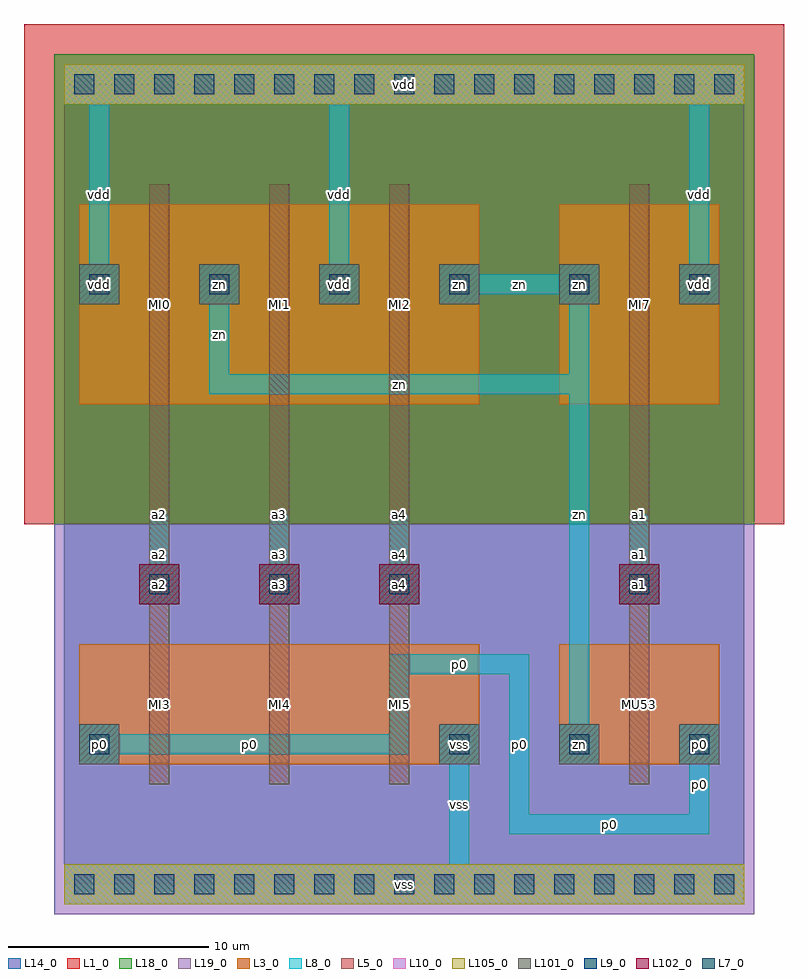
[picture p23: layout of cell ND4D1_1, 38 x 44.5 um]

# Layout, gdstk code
import gdstk
lib = gdstk.Library(unit=1e-6, precision=2.5e-07)
def R(c, l, rs):  # rectangles x0, y0, x1, y1
    for r in rs: c.add(gdstk.rectangle(r[:2], r[2:], *l))
def A(c, l, x, y, w, h, nx, ny, dx, dy):  # array of equal rectangles
    R(c, l, [(x+i*dx, y+j*dy, x+i*dx+w, y+j*dy+h) for i in range(nx) for j in range(ny)])
L1_0 = (1, 0)
L3_0 = (3, 0)
L5_0 = (5, 0)
L7_0 = (7, 0)
L8_0 = (8, 0)
L9_0 = (9, 0)
L10_0 = (10, 0)
L13_0 = (13, 0)
L14_0 = (14, 0)
L18_0 = (18, 0)
L19_0 = (19, 0)
L101_0 = (101, 0)
L102_0 = (102, 0)
L105_0 = (105, 0)

nd4d1_1 = lib.new_cell('ND4D1_1')
R(nd4d1_1, L1_0, [(-2,18,36,43)])
A(nd4d1_1, L3_0, 0.75, 6, 8, 6, 3, 1, 6, 0)
A(nd4d1_1, L3_0, 18.75, 6, 2, 2, 3, 1, 6, 0)
A(nd4d1_1, L3_0, 0.75, 24, 8, 10, 3, 1, 6, 0)
A(nd4d1_1, L3_0, 0.75, 29, 2, 2, 6, 1, 6, 0)
R(nd4d1_1, L3_0, [(0.75,6,2.75,8), (24.75,6,32.75,12), (24.75,24,32.75,34)])
A(nd4d1_1, L5_0, 4.25, 5, 1, 8, 3, 1, 6, 0)
A(nd4d1_1, L5_0, 4.25, 6.5, 1, 24, 3, 1, 6, 0)
A(nd4d1_1, L5_0, 3.75, 14, 2, 2, 3, 1, 6, 0)
A(nd4d1_1, L5_0, 4.25, 23, 1, 12, 3, 1, 6, 0)
R(nd4d1_1, L5_0, [(28.25,5,29.25,13), (28.25,6.5,29.25,30.5), (27.75,14,29.75,16), (28.25,23,29.25,35)])
A(nd4d1_1, L7_0, 19.25, 6.5, 1, 1, 3, 1, 6, 0)
A(nd4d1_1, L7_0, 4.25, 14.5, 1, 1, 3, 1, 6, 0)
A(nd4d1_1, L7_0, 1.25, 29.5, 1, 1, 6, 1, 6, 0)
R(nd4d1_1, L7_0, [(1.25,6.5,2.25,7.5), (28.25,14.5,29.25,15.5)])
A(nd4d1_1, L8_0, 18.75, 6, 2, 2, 3, 1, 6, 0)
A(nd4d1_1, L8_0, 3.75, 14, 2, 2, 3, 1, 6, 0)
A(nd4d1_1, L8_0, 4.25, 14.5, 1, 4, 3, 1, 6, 0)
A(nd4d1_1, L8_0, 0.75, 29, 2, 2, 6, 1, 6, 0)
R(nd4d1_1, L8_0, [(0,-1,34,1), (19.25,0.5,20.25,7.5), (22.25,2.5,23.25,11.5), (22.25,2.5,32.25,3.5), (31.25,2.5,32.25,7.5), (0.75,6,2.75,8), (1.25,6.5,17.25,7.5), (16.25,6.5,17.25,11.5), (25.25,6.5,26.25,30.5), (16.25,10.5,23.25,11.5), (27.75,14,29.75,16), (28.25,14.5,29.25,18.5), (7.25,24.5,26.25,25.5), (7.25,24.5,8.25,30.5), (1.25,29.5,2.25,39.5), (13.25,29.5,14.25,39.5), (19.25,29.5,26.25,30.5), (31.25,29.5,32.25,39.5), (0,39,34,41)])
A(nd4d1_1, L9_0, 0.5, -0.5, 1, 1, 17, 2, 2, 40)
R(nd4d1_1, L10_0, [(0,-1,34,1), (0,39,34,41)])
R(nd4d1_1, L14_0, [(0,0,34,40)])
R(nd4d1_1, L18_0, [(-0.5,18,34.5,38.5), (-0.5,38.5,34.5,41.5)])
R(nd4d1_1, L19_0, [(-0.5,-1.5,34.5,1.5), (-0.5,1.5,34.5,18)])
A(nd4d1_1, L101_0, 18.75, 6, 2, 2, 3, 1, 6, 0)
A(nd4d1_1, L101_0, 0.75, 29, 2, 2, 6, 1, 6, 0)
R(nd4d1_1, L101_0, [(0.75,6,2.75,8)])
A(nd4d1_1, L102_0, 3.75, 14, 2, 2, 3, 1, 6, 0)
R(nd4d1_1, L102_0, [(27.75,14,29.75,16)])
A(nd4d1_1, L105_0, 0, -1, 2, 2, 17, 2, 2, 40)
nd4d1_1.add(gdstk.FlexPath([(0.75,3),(32.75,3)], 0, ends="flush", simple_path=True, layer=13, datatype=0))  # L13_0
nd4d1_1.add(gdstk.FlexPath([(0.75,7),(32.75,7)], 0, ends="flush", simple_path=True, layer=13, datatype=0))  # L13_0
nd4d1_1.add(gdstk.FlexPath([(0.75,11),(32.75,11)], 0, ends="flush", simple_path=True, layer=13, datatype=0))  # L13_0
nd4d1_1.add(gdstk.FlexPath([(0.75,15),(32.75,15)], 0, ends="flush", simple_path=True, layer=13, datatype=0))  # L13_0
nd4d1_1.add(gdstk.FlexPath([(0.75,18),(32.75,18)], 0, ends="flush", simple_path=True, layer=13, datatype=0))  # L13_0
nd4d1_1.add(gdstk.FlexPath([(0.75,21),(32.75,21)], 0, ends="flush", simple_path=True, layer=13, datatype=0))  # L13_0
nd4d1_1.add(gdstk.FlexPath([(0.75,25),(32.75,25)], 0, ends="flush", simple_path=True, layer=13, datatype=0))  # L13_0
nd4d1_1.add(gdstk.FlexPath([(0.75,30),(32.75,30)], 0, ends="flush", simple_path=True, layer=13, datatype=0))  # L13_0
nd4d1_1.add(gdstk.FlexPath([(0.75,33),(32.75,33)], 0, ends="flush", simple_path=True, layer=13, datatype=0))  # L13_0
nd4d1_1.add(gdstk.FlexPath([(0.75,37),(32.75,37)], 0, ends="flush", simple_path=True, layer=13, datatype=0))  # L13_0
nd4d1_1.add(gdstk.FlexPath([(1.75,0.5),(1.75,39.5)], 0, ends="flush", simple_path=True, layer=13, datatype=0))  # L13_0
nd4d1_1.add(gdstk.FlexPath([(4.75,0.5),(4.75,39.5)], 0, ends="flush", simple_path=True, layer=13, datatype=0))  # L13_0
nd4d1_1.add(gdstk.FlexPath([(7.75,0.5),(7.75,39.5)], 0, ends="flush", simple_path=True, layer=13, datatype=0))  # L13_0
nd4d1_1.add(gdstk.FlexPath([(10.75,0.5),(10.75,39.5)], 0, ends="flush", simple_path=True, layer=13, datatype=0))  # L13_0
nd4d1_1.add(gdstk.FlexPath([(13.75,0.5),(13.75,39.5)], 0, ends="flush", simple_path=True, layer=13, datatype=0))  # L13_0
nd4d1_1.add(gdstk.FlexPath([(16.75,0.5),(16.75,39.5)], 0, ends="flush", simple_path=True, layer=13, datatype=0))  # L13_0
nd4d1_1.add(gdstk.FlexPath([(19.75,0.5),(19.75,39.5)], 0, ends="flush", simple_path=True, layer=13, datatype=0))  # L13_0
nd4d1_1.add(gdstk.FlexPath([(22.75,0.5),(22.75,39.5)], 0, ends="flush", simple_path=True, layer=13, datatype=0))  # L13_0
nd4d1_1.add(gdstk.FlexPath([(25.75,0.5),(25.75,39.5)], 0, ends="flush", simple_path=True, layer=13, datatype=0))  # L13_0
nd4d1_1.add(gdstk.FlexPath([(28.75,0.5),(28.75,39.5)], 0, ends="flush", simple_path=True, layer=13, datatype=0))  # L13_0
nd4d1_1.add(gdstk.FlexPath([(31.75,0.5),(31.75,39.5)], 0, ends="flush", simple_path=True, layer=13, datatype=0))  # L13_0
nd4d1_1.add(gdstk.Label('MI3', (4.75,9), layer=3, texttype=0))
nd4d1_1.add(gdstk.Label('MI5', (16.75,9), layer=3, texttype=0))
nd4d1_1.add(gdstk.Label('MI4', (10.75,9), layer=3, texttype=0))
nd4d1_1.add(gdstk.Label('MU53', (28.75,9), layer=3, texttype=0))
nd4d1_1.add(gdstk.Label('MI7', (28.75,29), layer=3, texttype=0))
nd4d1_1.add(gdstk.Label('MI2', (16.75,29), layer=3, texttype=0))
nd4d1_1.add(gdstk.Label('MI1', (10.75,29), layer=3, texttype=0))
nd4d1_1.add(gdstk.Label('MI0', (4.75,29), layer=3, texttype=0))
nd4d1_1.add(gdstk.Label('p0', (1.75,7), layer=3, texttype=0))
nd4d1_1.add(gdstk.Label('p0', (31.75,7), layer=3, texttype=0))
nd4d1_1.add(gdstk.Label('zn', (25.75,7), layer=3, texttype=0))
nd4d1_1.add(gdstk.Label('zn', (25.75,30), layer=3, texttype=0))
nd4d1_1.add(gdstk.Label('zn', (19.75,30), layer=3, texttype=0))
nd4d1_1.add(gdstk.Label('zn', (7.75,30), layer=3, texttype=0))
nd4d1_1.add(gdstk.Label('vss', (19.75,7), layer=3, texttype=0))
nd4d1_1.add(gdstk.Label('vdd', (31.75,30), layer=3, texttype=0))
nd4d1_1.add(gdstk.Label('vdd', (13.75,30), layer=3, texttype=0))
nd4d1_1.add(gdstk.Label('vdd', (1.75,30), layer=3, texttype=0))
nd4d1_1.add(gdstk.Label('p0', (1.75,7), layer=101, texttype=0))
nd4d1_1.add(gdstk.Label('p0', (31.75,7), layer=101, texttype=0))
nd4d1_1.add(gdstk.Label('zn', (25.75,7), layer=101, texttype=0))
nd4d1_1.add(gdstk.Label('zn', (25.75,30), layer=101, texttype=0))
nd4d1_1.add(gdstk.Label('zn', (19.75,30), layer=101, texttype=0))
nd4d1_1.add(gdstk.Label('zn', (7.75,30), layer=101, texttype=0))
nd4d1_1.add(gdstk.Label('vss', (19.75,7), layer=101, texttype=0))
nd4d1_1.add(gdstk.Label('vdd', (31.75,30), layer=101, texttype=0))
nd4d1_1.add(gdstk.Label('vdd', (13.75,30), layer=101, texttype=0))
nd4d1_1.add(gdstk.Label('vdd', (1.75,30), layer=101, texttype=0))
nd4d1_1.add(gdstk.Label('p0', (1.75,7), layer=8, texttype=0))
nd4d1_1.add(gdstk.Label('p0', (31.75,7), layer=8, texttype=0))
nd4d1_1.add(gdstk.Label('p0', (9.25,7), layer=8, texttype=0))
nd4d1_1.add(gdstk.Label('p0', (16.75,9), layer=8, texttype=0))
nd4d1_1.add(gdstk.Label('p0', (19.75,11), layer=8, texttype=0))
nd4d1_1.add(gdstk.Label('p0', (22.75,7), layer=8, texttype=0))
nd4d1_1.add(gdstk.Label('p0', (27.25,3), layer=8, texttype=0))
nd4d1_1.add(gdstk.Label('p0', (31.75,5), layer=8, texttype=0))
nd4d1_1.add(gdstk.Label('a2', (4.75,15), layer=8, texttype=0))
nd4d1_1.add(gdstk.Label('a2', (4.75,16.5), layer=8, texttype=0))
nd4d1_1.add(gdstk.Label('a4', (16.75,15), layer=8, texttype=0))
nd4d1_1.add(gdstk.Label('a4', (16.75,16.5), layer=8, texttype=0))
nd4d1_1.add(gdstk.Label('a3', (10.75,15), layer=8, texttype=0))
nd4d1_1.add(gdstk.Label('a3', (10.75,16.5), layer=8, texttype=0))
nd4d1_1.add(gdstk.Label('zn', (25.75,7), layer=8, texttype=0))
nd4d1_1.add(gdstk.Label('zn', (25.75,30), layer=8, texttype=0))
nd4d1_1.add(gdstk.Label('zn', (19.75,30), layer=8, texttype=0))
nd4d1_1.add(gdstk.Label('zn', (7.75,30), layer=8, texttype=0))
nd4d1_1.add(gdstk.Label('zn', (25.75,18.5), layer=8, texttype=0))
nd4d1_1.add(gdstk.Label('zn', (22.75,30), layer=8, texttype=0))
nd4d1_1.add(gdstk.Label('zn', (16.75,25), layer=8, texttype=0))
nd4d1_1.add(gdstk.Label('zn', (7.75,27.5), layer=8, texttype=0))
nd4d1_1.add(gdstk.Label('a1', (28.75,15), layer=8, texttype=0))
nd4d1_1.add(gdstk.Label('a1', (28.75,16.5), layer=8, texttype=0))
nd4d1_1.add(gdstk.Label('vss', (19.75,7), layer=8, texttype=0))
nd4d1_1.add(gdstk.Label('vss', (19.75,4), layer=8, texttype=0))
nd4d1_1.add(gdstk.Label('vdd', (31.75,30), layer=8, texttype=0))
nd4d1_1.add(gdstk.Label('vdd', (31.75,34.5), layer=8, texttype=0))
nd4d1_1.add(gdstk.Label('vdd', (13.75,30), layer=8, texttype=0))
nd4d1_1.add(gdstk.Label('vdd', (13.75,34.5), layer=8, texttype=0))
nd4d1_1.add(gdstk.Label('vdd', (1.75,30), layer=8, texttype=0))
nd4d1_1.add(gdstk.Label('vdd', (1.75,34.5), layer=8, texttype=0))
nd4d1_1.add(gdstk.Label('vss', (17,0), layer=8, texttype=0))
nd4d1_1.add(gdstk.Label('vdd', (17,40), layer=8, texttype=0))
nd4d1_1.add(gdstk.Label('vss', (17,0), layer=10, texttype=0))
nd4d1_1.add(gdstk.Label('vdd', (17,40), layer=10, texttype=0))
nd4d1_1.add(gdstk.Label('a2', (4.75,18.5), layer=5, texttype=0))
nd4d1_1.add(gdstk.Label('a2', (4.75,15), layer=5, texttype=0))
nd4d1_1.add(gdstk.Label('a4', (16.75,18.5), layer=5, texttype=0))
nd4d1_1.add(gdstk.Label('a4', (16.75,15), layer=5, texttype=0))
nd4d1_1.add(gdstk.Label('a3', (10.75,18.5), layer=5, texttype=0))
nd4d1_1.add(gdstk.Label('a3', (10.75,15), layer=5, texttype=0))
nd4d1_1.add(gdstk.Label('a1', (28.75,18.5), layer=5, texttype=0))
nd4d1_1.add(gdstk.Label('a1', (28.75,15), layer=5, texttype=0))
nd4d1_1.add(gdstk.Label('a2', (4.75,15), layer=102, texttype=0))
nd4d1_1.add(gdstk.Label('a4', (16.75,15), layer=102, texttype=0))
nd4d1_1.add(gdstk.Label('a3', (10.75,15), layer=102, texttype=0))
nd4d1_1.add(gdstk.Label('a1', (28.75,15), layer=102, texttype=0))

lib.write_gds('ND4D1_1.gds')
